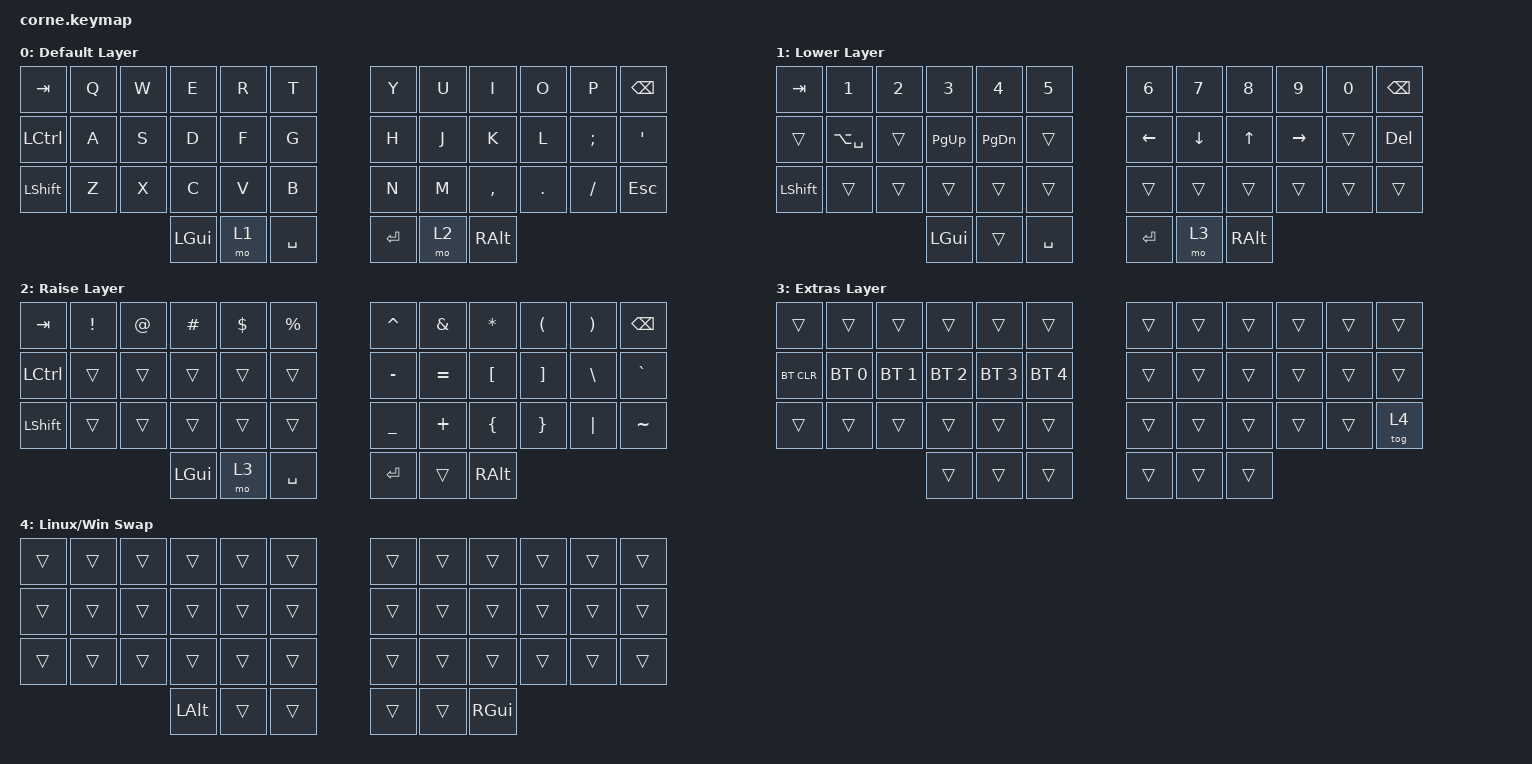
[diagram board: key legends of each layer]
/*
 * Copyright (c) 2020 The ZMK Contributors
 *
 * SPDX-License-Identifier: MIT
 */

#include <behaviors.dtsi>
#include <dt-bindings/zmk/keys.h>
#include <dt-bindings/zmk/bt.h>

/ {
        keymap {
                compatible = "zmk,keymap";

                default_layer {
                        display-name = "Default Layer";
// -----------------------------------------------------------------------------------------
// |  TAB |  Q  |  W  |  E  |  R  |  T  |   |  Y  |  U   |  I  |  O  |  P  | BSPC |
// | CTRL |  A  |  S  |  D  |  F  |  G  |   |  H  |  J   |  K  |  L  |  ;  |  '   |
// | SHFT |  Z  |  X  |  C  |  V  |  B  |   |  N  |  M   |  ,  |  .  |  /  | ESC  |
//                    | GUI | LWR | SPC |   | ENT | RSE  | ALT |
                        bindings = <
   &kp TAB   &kp Q &kp W &kp E &kp R &kp T   &kp Y &kp U  &kp I     &kp O   &kp P    &kp BSPC
   &kp LCTRL &kp A &kp S &kp D &kp F &kp G   &kp H &kp J  &kp K     &kp L   &kp SEMI &kp SQT
   &kp LSHFT &kp Z &kp X &kp C &kp V &kp B   &kp N &kp M  &kp COMMA &kp DOT &kp FSLH &kp ESC
                  &kp LGUI &mo 1 &kp SPACE   &kp RET &mo 2 &kp RALT
                        >;
                };
                lower_layer {
                        display-name = "Lower Layer";
// -----------------------------------------------------------------------------------------
// |  TAB |  1  |  2  |  3  |  4  |  5  |   |  6  |  7  |  8  |  9  |  0  | BSPC |
// |      | WHSP|     | PGUP| PGDN|     |   | LFT | DWN |  UP | RGT |     | DEL  |
// | SHFT |     |     |     |     |     |   |     |     |     |     |     |      |
//                    | GUI |     | SPC |   | ENT |     | ALT |
                        bindings = <
   &kp TAB    &kp N1       &kp N2       &kp N3       &kp N4       &kp N5         &kp N6   &kp N7   &kp N8 &kp N9    &kp N0 &kp BSPC
   &trans     &kp LA(SPACE) &trans      &kp PG_UP    &kp PG_DN    &trans         &kp LEFT &kp DOWN &kp UP &kp RIGHT &trans &kp DEL
   &kp LSHFT  &trans       &trans       &trans       &trans       &trans         &trans   &trans   &trans &trans    &trans &trans
                                        &kp LGUI     &trans       &kp SPACE      &kp RET  &mo 3    &kp RALT
                        >;
                };

                raise_layer {
                        display-name = "Raise Layer";
// -----------------------------------------------------------------------------------------
// |  TAB |  !  |  @  |  #  |  $  |  %  |   |  ^  |  &  |  *  |  (  |  )  | BSPC |
// | CTRL |     |     |     |     |     |   |  -  |  =  |  [  |  ]  |  \  |  `   |
// | SHFT |     |     |     |     |     |   |  _  |  +  |  {  |  }  | "|" |  ~   |
//                    | GUI |     | SPC |   | ENT |     | ALT |
                        bindings = <
   &kp  TAB  &kp EXCL &kp AT &kp HASH &kp DLLR &kp PRCNT   &kp CARET &kp AMPS  &kp ASTRK &kp LPAR &kp RPAR &kp BSPC
   &kp LCTRL &trans   &trans &trans   &trans   &trans      &kp MINUS &kp EQUAL &kp LBKT  &kp RBKT &kp BSLH &kp GRAVE
   &kp LSHFT &trans   &trans &trans   &trans   &trans      &kp UNDER &kp PLUS  &kp LBRC  &kp RBRC &kp PIPE &kp TILDE
                             &kp LGUI &mo 3    &kp SPACE   &kp RET   &trans    &kp RALT
                        >;
                };

                extra_layer {
                        display-name = "Extras Layer";
// -----------------------------------------------------------------------------------------
// |      |     |     |     |     |     |   |     |     |     |     |     |      |
// | BTCLR| BT1 | BT2 | BT3 | BT4 | BT5 |   |     |     |     |     |     |      |
// |      |     |     |     |     |     |   |     |     |     |     |     |      |
//                    |     |     |     |   |     |     |     |
                        bindings = <
   &trans     &trans       &trans       &trans       &trans       &trans         &trans   &trans   &trans &trans    &trans &trans
   &bt BT_CLR &bt BT_SEL 0 &bt BT_SEL 1 &bt BT_SEL 2 &bt BT_SEL 3 &bt BT_SEL 4   &trans   &trans   &trans &trans    &trans &trans
   &trans     &trans       &trans       &trans       &trans       &trans         &trans   &trans   &trans &trans    &trans &tog 4
                                        &trans       &trans       &trans         &trans   &trans   &trans
                        >;
                };

                swap_layer {
                        display-name = "Linux/Win Swap";
// -----------------------------------------------------------------------------------------
// Swaps GUI and ALT on thumb keys for Linux/Windows mode.
// Toggle on/off from Extras layer. All other keys pass through.
                        bindings = <
   &trans &trans &trans &trans &trans &trans   &trans &trans &trans &trans &trans &trans
   &trans &trans &trans &trans &trans &trans   &trans &trans &trans &trans &trans &trans
   &trans &trans &trans &trans &trans &trans   &trans &trans &trans &trans &trans &trans
                        &kp LALT &trans &trans   &trans &trans &kp RGUI
                        >;
                };
        };
};
